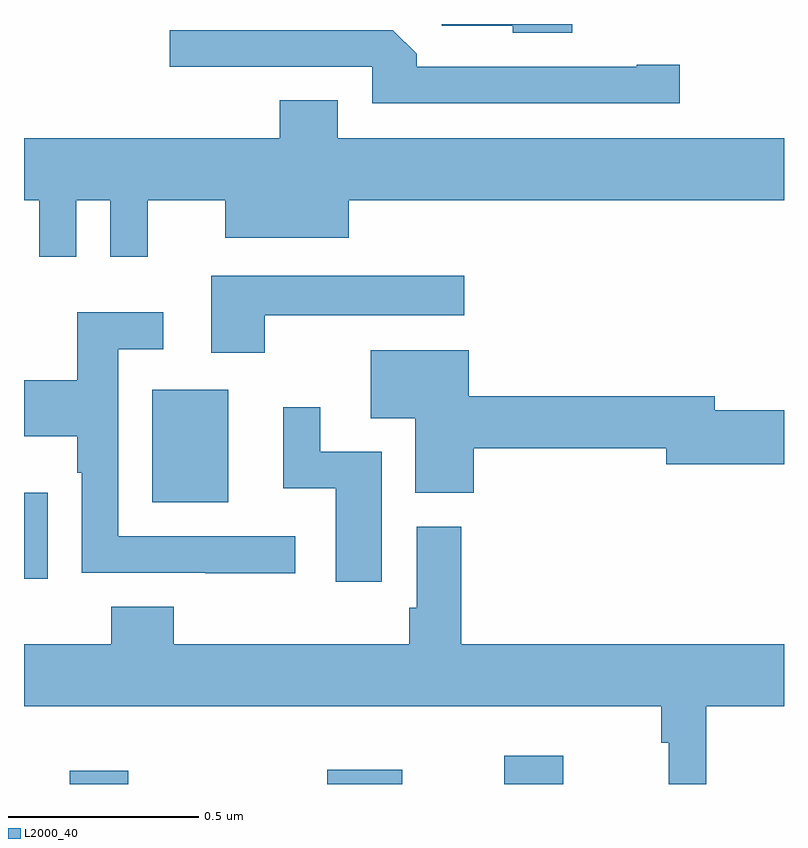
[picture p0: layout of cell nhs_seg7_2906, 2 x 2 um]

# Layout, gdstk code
import gdstk
lib = gdstk.Library(unit=1e-6, precision=1e-09)
def R(c, l, rs):  # rectangles x0, y0, x1, y1
    for r in rs: c.add(gdstk.rectangle(r[:2], r[2:], *l))
def P(c, l, *ps):  # polygons
    for p in ps: c.add(gdstk.Polygon(p, *l))
L2000_40 = (2000, 40)

nhs_seg7_2906 = lib.new_cell('nhs_seg7_2906')
R(nhs_seg7_2906, L2000_40, [(151.121,1079,151.274,1079.035), (151.798,1079,151.996,1079.038), (152.264,1079,152.419,1079.074), (151,1079.54,151.063,1079.767), (151.337,1079.741,151.537,1080.037)])
P(nhs_seg7_2906, L2000_40, [(152.443,1081),(152.099,1081),(152.099,1080.995),(152.286,1080.995),(152.286,1080.977),(152.443,1080.977)],
  [(152.725,1080.893),(152.612,1080.893),(152.612,1080.888),(152.033,1080.888),(152.033,1080.922),(151.971,1080.984),(151.383,1080.984),(151.383,1080.888),(151.917,1080.888),(151.917,1080.792),(152.725,1080.792)],
  [(151.137,1080.536),(151.227,1080.536),(151.227,1080.387),(151.325,1080.387),(151.325,1080.536),(151.529,1080.536),(151.529,1080.437),(151.855,1080.437),(151.855,1080.536),(153,1080.536),(153,1080.7),(151.825,1080.7),(151.825,1080.799),(151.673,1080.799),(151.673,1080.7),(151,1080.7),(151,1080.536),(151.04,1080.536),(151.04,1080.387),(151.137,1080.387)],
  [(151.633,1080.233),(152.158,1080.233),(152.158,1080.337),(151.493,1080.337),(151.493,1080.135),(151.633,1080.135)],
  [(151.714,1079.652),(151.248,1079.652),(151.248,1080.144),(151.366,1080.144),(151.366,1080.241),(151.14,1080.241),(151.14,1080.063),(151,1080.063),(151,1079.915),(151.14,1079.915),(151.14,1079.819),(151.152,1079.819),(151.152,1079.556),(151.477,1079.556),(151.477,1079.555),(151.714,1079.555)],
  [(152.183,1079.884),(152.69,1079.884),(152.69,1079.842),(153,1079.842),(153,1079.984),(152.818,1079.984),(152.818,1080.02),(152.17,1080.02),(152.17,1080.142),(151.913,1080.142),(151.913,1079.963),(152.03,1079.963),(152.03,1079.766),(152.183,1079.766)],
  [(151.942,1079.874),(151.78,1079.874),(151.78,1079.992),(151.682,1079.992),(151.682,1079.778),(151.82,1079.778),(151.82,1079.532),(151.942,1079.532)],
  [(152.796,1079.204),(153,1079.204),(153,1079.368),(152.15,1079.368),(152.15,1079.677),(152.034,1079.677),(152.034,1079.464),(152.014,1079.464),(152.014,1079.368),(151.394,1079.368),(151.394,1079.467),(151.229,1079.467),(151.229,1079.368),(151,1079.368),(151,1079.204),(152.677,1079.204),(152.677,1079.108),(152.697,1079.108),(152.697,1079),(152.796,1079)])

lib.write_gds('nhs_seg7_2906.gds')
